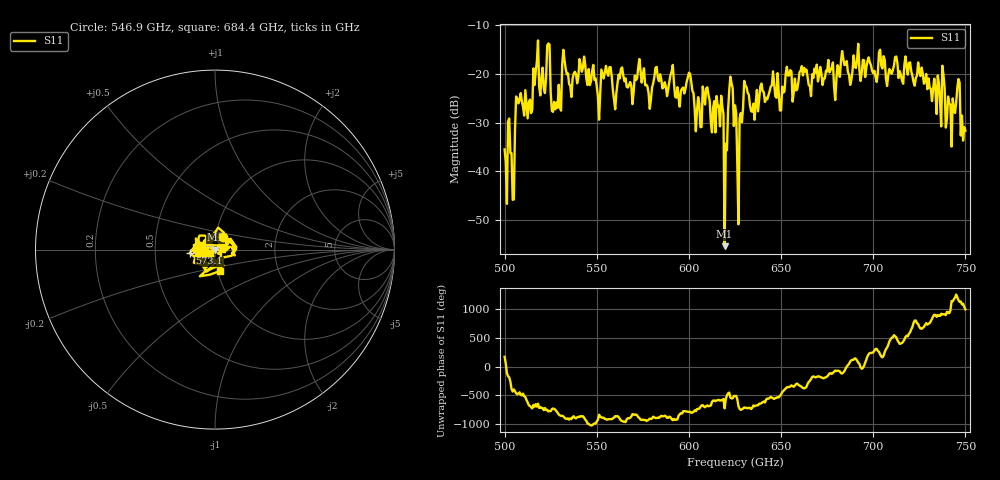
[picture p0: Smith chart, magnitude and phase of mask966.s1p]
!Created with skrf (http://scikit-rf.org).
# GHz S MA R 50.0
!freq magS11 angS11
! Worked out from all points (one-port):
!   401 points, 500 GHz to 750 GHz, reference 50 ohm
!   lowest |S11| = -55.3 dB at 619.4 GHz (marker M1), VSWR 1.00, Z = 50.2 - j0.0122 ohm
!   |S11| at or under -10 dB: start of sweep to end of sweep
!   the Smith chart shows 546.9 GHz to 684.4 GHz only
!   S11 on the Smith chart (normalised r, x): 546.9 GHz: 1.08, +0.16; 573.1 GHz: 0.75, -0.03; 684.4 GHz: 1.02, -0.25
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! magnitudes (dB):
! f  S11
! 500 GHz  -35.5
! 504.4 GHz  -45.8
! 507.5 GHz  -26.1
! 513.8 GHz  -25.3
! 516.9 GHz  -19.5
! 523.8 GHz  -13.8
! 526.9 GHz  -25.8
! 531.2 GHz  -18.1
! 546.9 GHz  -21.5
! 562.5 GHz  -20.9
! 573.1 GHz  -17.0
! 593.8 GHz  -22.7
! 600 GHz  -19.8
! 605 GHz  -24.8
! 616.2 GHz  -26.5
! 619.4 GHz  -55.3
! 622.5 GHz  -20.6
! 625 GHz  -26.5
! 627.5 GHz  -29.2
! 631.2 GHz  -22.7
! 634.4 GHz  -27.8
! 656.2 GHz  -25.7
! 684.4 GHz  -18.2
! 687.5 GHz  -22.3
! 718.8 GHz  -20.2
! 741.2 GHz  -26.1
! 745.6 GHz  -22.9
! 750 GHz  -31.6
